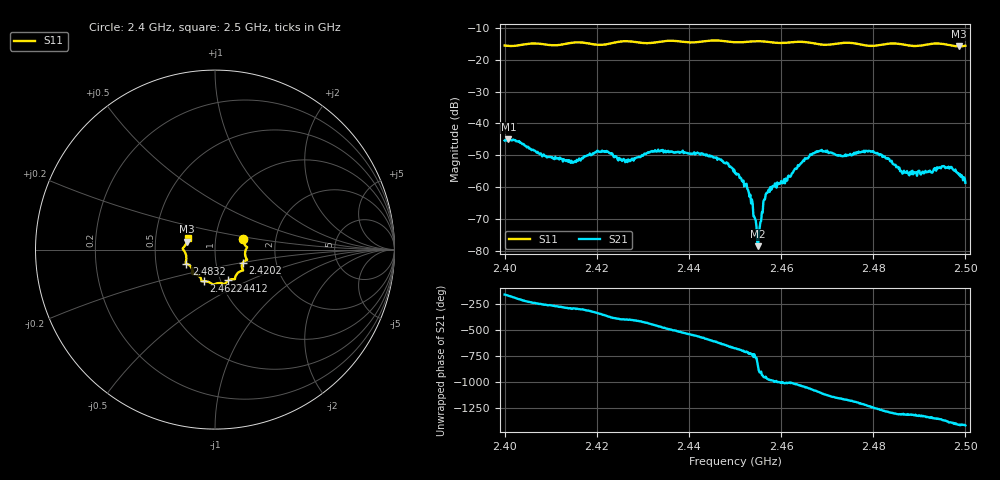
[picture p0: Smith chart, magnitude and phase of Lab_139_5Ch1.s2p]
# Hz S RI R 50
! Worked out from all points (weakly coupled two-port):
!   601 points, 2.4 GHz to 2.5 GHz, reference 50 ohm
!   highest |S21| = -44.99 dB at 2.4008 GHz (marker M1); lowest = -78.5 dB at 2.455 GHz (marker M2)
!   lowest |S11| = -15.8 dB at 2.4987 GHz (marker M3), VSWR 1.39, Z = 36.4 + j3.36 ohm
!   |S11| at or under -10 dB: start of sweep to end of sweep
!   S12 and S22 are empty: the file has one direction only
!   S11 on the Smith chart (normalised r, x): 2.4 GHz: 1.36, +0.17; 2.4202 GHz: 1.35, -0.20; 2.4412 GHz: 1.09, -0.39; 2.4622 GHz: 0.83, -0.30; 2.4832 GHz: 0.72, -0.12; 2.5 GHz: 0.73, +0.10
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2.4e9  0.1561 0.0594  -0.00514 -0.00166  0 0  0 0
2.400833e9  0.1572 0.0495  -0.00559 -0.000653  0 0  0 0
2.409167e9  0.1721 0.000211  -0.000423 0.00291  0 0  0 0
2.416667e9  0.1776 -0.0582  0.00156 0.00233  0 0  0 0
2.420167e9  0.1557 -0.0723  0.00351 0.00132  0 0  0 0
2.426667e9  0.1567 -0.1162  0.00184 -0.00166  0 0  0 0
2.433333e9  0.113 -0.1526  -0.000962 -0.00377  0 0  0 0
2.441167e9  0.0748 -0.1719  -0.0034 0.000945  0 0  0 0
2.446833e9  0.0492 -0.1924  7.67e-05 0.0027  0 0  0 0
2.45e9  0.0261 -0.1863  0.00117 0.00116  0 0  0 0
2.452833e9  0.000487 -0.1916  0.000899 8.03e-05  0 0  0 0
2.455e9  -0.00994 -0.1953  -7e-05 -9.56e-05  0 0  0 0
2.457167e9  -0.0196 -0.1896  -0.000252 0.000814  0 0  0 0
2.462167e9  -0.0634 -0.1766  0.000395 0.00146  0 0  0 0
2.466667e9  -0.0766 -0.1665  0.00317 0.000506  0 0  0 0
2.478833e9  -0.1292 -0.1043  -0.00305 -0.00193  0 0  0 0
2.483167e9  -0.1601 -0.0779  -0.00257 0.00109  0 0  0 0
2.483333e9  -0.1608 -0.0774  -0.0025 0.00131  0 0  0 0
2.487333e9  -0.16 -0.0555  -0.00107 0.00144  0 0  0 0
2.495333e9  -0.1756 0.0123  0.000638 0.00205  0 0  0 0
2.498667e9  -0.1557 0.045  0.0013 0.000833  0 0  0 0
2.5e9  -0.1532 0.0636  0.00107 0.00049  0 0  0 0
